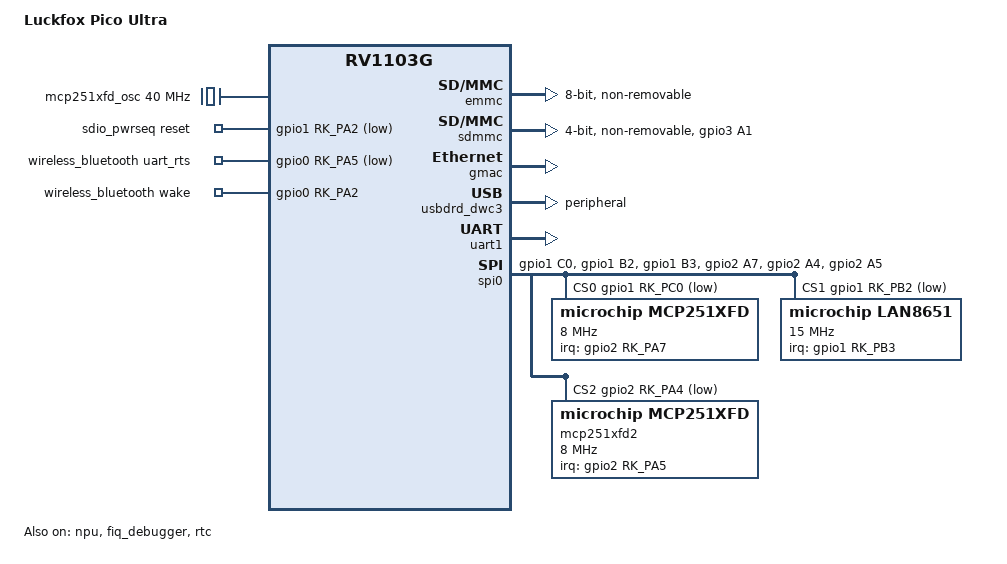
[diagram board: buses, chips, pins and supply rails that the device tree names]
// SPDX-License-Identifier: (GPL-2.0+ OR MIT)
/*
 * Copyright (c) 2022 Rockchip Electronics Co., Ltd.
 */

/dts-v1/;
#include "rv1106.dtsi"
#include "rv1106-luckfox-pico-ultra-ipc.dtsi"
#include <dt-bindings/input/input.h>
#include <dt-bindings/display/media-bus-format.h>

/ {
	model = "Luckfox Pico Ultra";
	compatible = "rockchip,rv1103g-38x38-ipc-v10", "rockchip,rv1106g3";

	/*
	 * Shared oscillator for both MCP251863 modules (can@0 and can@2).
	 * Must match the actual X1 crystal on the modules: the driver takes
	 * this as SYSCLK directly (it never enables the MCP's PLL), so a
	 * mismatch silently scales every bit rate - the link reports the
	 * requested bitrate while the wire runs at another.
	 *
	 * 40 MHz is bench-verified, NOT a guess: at 20 MHz the driver computed
	 * tq 50ns and both channels went silent (cansend produced nothing on
	 * the USB CAN FD analyser); at 40 MHz it computes tq 25ns / brp 1,
	 * which divides to exactly 500 kbit/s and passes traffic both ways.
	 * Schematic 89-S&C-R0 shows a 20 MHz X1 - that symbol does not match
	 * the modules actually fitted. Do not "correct" this to 20 MHz.
	 */
	mcp251xfd_osc: mcp251xfd-osc {
		compatible = "fixed-clock";
		#clock-cells = <0>;
		clock-frequency = <40000000>;
	};

	restart-poweroff {
		compatible = "restart-poweroff";
	};

	sdio_pwrseq: sdio-pwrseq {
		compatible = "mmc-pwrseq-simple";
		pinctrl-names = "default";
		reset-gpios = <&gpio1 RK_PA2 GPIO_ACTIVE_LOW>;
	};

	wireless_bluetooth: wireless-bluetooth {
		compatible = "bluetooth-platdata";
		uart_rts_gpios = <&gpio0 RK_PA5 GPIO_ACTIVE_LOW>;
		pinctrl-names = "default", "rts_gpio";
		pinctrl-0 = <&uart1m0_rtsn>;
		pinctrl-1 = <&uart1_gpios>;
		BT,wake_gpio     = <&gpio0 RK_PA2 GPIO_ACTIVE_HIGH>;
		status = "okay";
	};
};

&pinctrl {
	lan8651 {
		lan8651_cs_pin: lan8651-cs-pin {
			rockchip,pins = <1 RK_PB2 RK_FUNC_GPIO &pcfg_pull_none>;
		};

		lan8651_int_pin: lan8651-int-pin {
			rockchip,pins = <1 RK_PB3 RK_FUNC_GPIO &pcfg_pull_up>;
		};
	};

	mcp251xfd {
		/*
		 * SPI0 CS0 pin (GPIO1_C0) driven as a plain GPIO chip-select.
		 * The Rockchip SPI controller (SPI_MASTER_GPIO_SS) also asserts
		 * native SER[0] on every GPIO-CS transfer, so the MCP must NOT
		 * sit on native CS0 while the LAN8651 uses a GPIO CS - otherwise
		 * LAN8651 traffic re-selects the CAN controller and corrupts it.
		 * Making both devices GPIO-CS keeps them isolated.
		 */
		mcp251xfd_cs_pin: mcp251xfd-cs-pin {
			rockchip,pins = <1 RK_PC0 RK_FUNC_GPIO &pcfg_pull_up>;
		};

		mcp251xfd_int_pin: mcp251xfd-int-pin {
			rockchip,pins = <2 RK_PA7 RK_FUNC_GPIO &pcfg_pull_up>;
		};
	};

	mcp251xfd2 {
		/*
		 * Second MCP251863 on the same SPI0 bus, GPIO chip-select for the
		 * same reason as CS0/CS1 above. GPIO2_A4/A5 are otherwise idle on
		 * this board: their alternate mux is UART1_M1, and the Ultra's
		 * Bluetooth uses uart1m0 (GPIO1_A3/A4), not uart1m1.
		 * NOTE: the pad default bias for this pair is pull-down (cf.
		 * sdmmc1m0_idle_pins), so CS needs an external 10k pull-up to keep
		 * it deasserted in the window before pinctrl runs at boot.
		 */
		mcp251xfd2_cs_pin: mcp251xfd2-cs-pin {
			rockchip,pins = <2 RK_PA4 RK_FUNC_GPIO &pcfg_pull_up>;
		};

		mcp251xfd2_int_pin: mcp251xfd2-int-pin {
			rockchip,pins = <2 RK_PA5 RK_FUNC_GPIO &pcfg_pull_up>;
		};
	};
};

/**********CRU**********/
//&cru {
//	assigned-clocks =
//		<&cru PLL_GPLL>, <&cru PLL_CPLL>,
//		<&cru ARMCLK>,
//		<&cru ACLK_PERI_ROOT>, <&cru HCLK_PERI_ROOT>,
//		<&cru PCLK_PERI_ROOT>, <&cru ACLK_BUS_ROOT>,
//		<&cru PCLK_TOP_ROOT>, <&cru PCLK_PMU_ROOT>,
//		<&cru HCLK_PMU_ROOT>, <&cru CLK_500M_SRC>;
//	assigned-clock-rates =
//		<1188000000>, <700000000>,
//		<1104000000>,
//		<400000000>, <200000000>,
//		<100000000>, <300000000>,
//		<100000000>, <100000000>,
//		<200000000>, <700000000>;
//};

/**********NPU**********/
/*
 * Enabled 2026-08-21 (CRA compliance plan item 14).
 *
 * rv1106.dtsi ships this node "disabled", so rknpu never probed and /dev/rknpu
 * has never existed on any unit — while the SATISense daemon links librknnmrt
 * and core/ai/aiworker.c calls rknn_init() on the MVAD autoencoder's INT8
 * sibling whenever a .rknn model is present. The accelerated path could not
 * have worked on a shipped image; it failed at the device open and fell back.
 *
 * The module itself is loaded by the overlay's S52npu, from the rootfs rather
 * than from /oem (see luckfox-joral-oem-pre.sh).
 *
 * TAKES EFFECT ON A REFLASH ONLY: the dtb travels in the FIT in the `boot`
 * partition, which is single-copy and is not part of the .swu payload, so an
 * A/B update carries the loader and not this. Same class of caveat as the
 * pre-2026-08-15 /oem ownership.
 *
 * Clock rate is left at the dtsi default (ACLK_RKNN 420 MHz). The commented
 * 700 MHz override below is the BSP's, kept as it was found.
 */
&npu {
	//assigned-clock-rates = <700000000>;
	status = "okay";
};

/**********EMMC**********/
&emmc {
	bus-width = <8>;
	cap-mmc-highspeed;
	non-removable;
	// mmc-hs200-1_8v;
	rockchip,default-sample-phase = <90>;
	no-sdio;
	no-sd;
	memory-region-ecsd = <&mmc_ecsd>;
	post-power-on-delay-ms = <0>;
	status = "okay";
};

&fiq_debugger {
	rockchip,irq-mode-enable = <1>;
	status = "okay";
};

/**********SDIO-WIFI**********/
&sdmmc {
	max-frequency = <50000000>;
	bus-width = <4>;
	cap-sd-highspeed;
	cap-sdio-irq;
	keep-power-in-suspend;
	non-removable;
	rockchip,default-sample-phase = <90>;
	// no-sd;
	// no-mmc;
	supports-sdio;
	mmc-pwrseq = <&sdio_pwrseq>;
	pinctrl-names = "default";
	pinctrl-0 = <&sdmmc0_clk &sdmmc0_cmd &sdmmc0_bus4 &sdmmc0_det>;
	status = "okay";
};

&pinctrl{
	sdmmc0{
		sdmmc0_det: sdmmc0-det {
			rockchip,pins =
				/* sdmmc0_det */
				<3 RK_PA1 1 &pcfg_pull_down>;
		};
	};
};


/**********ETH**********/
&gmac {
	status = "okay";
};

/**********USB**********/
&usbdrd_dwc3 {
	status = "okay";
	dr_mode = "peripheral";
	//dr_mode = "host";
};

/**********RTC**********/
&rtc {
	status = "okay";
};

/**********RGB**********/
&backlight {
	status = "disabled";
};

&panel {
	status = "disabled";
};

&rgb {
	status = "disabled";
};

&rgb_in_vop {
	status = "disabled";
};

/**********BT**********/
&uart1 {
	status = "okay";
	pinctrl-names = "default";
	pinctrl-0 = <&uart1m0_xfer &uart1m0_ctsn>;
};

&pinctrl {
	wireless-bluetooth {
		uart1_gpios: uart1-gpios {
			rockchip,pins = <0 RK_PA5 RK_FUNC_GPIO &pcfg_pull_none>;
		};
	};
};

/**********SPI**********/
&spi0 {
	status = "okay";
	num-cs = <3>;
	/*
	 * CS0 = MCP251xFD #1 (GPIO1_C0), CS1 = LAN8651 (GPIO1_B2),
	 * CS2 = MCP251xFD #2 (GPIO2_A4); all GPIO, no native CS.
	 */
	cs-gpios = <&gpio1 RK_PC0 GPIO_ACTIVE_LOW>,
		   <&gpio1 RK_PB2 GPIO_ACTIVE_LOW>,
		   <&gpio2 RK_PA4 GPIO_ACTIVE_LOW>;
	pinctrl-names = "default";
	pinctrl-0 = <&spi0m0_clk &spi0m0_miso &spi0m0_mosi &mcp251xfd_cs_pin
				     &lan8651_cs_pin &lan8651_int_pin &mcp251xfd_int_pin
				     &mcp251xfd2_cs_pin &mcp251xfd2_int_pin>;
	/delete-node/ spidev@0;

	mcp251xfd: can@0 {
		compatible = "microchip,mcp251xfd";
		reg = <0>;
		/* 8 MHz: derated from 10 MHz (ADR-013; chip max is 17 MHz = 85% of
		 * SYSCLK/2 at 40 MHz) after CRC read errors on the shared SPI0 bus.
		 * Keeps ~1.6x headroom over worst-case CAN FD 500k/2M SPI traffic;
		 * do not lower further - transfers would occupy the shared bus even
		 * longer, delaying LAN8651 OA-TC6 data-path servicing. */
		spi-max-frequency = <8000000>;
		clocks = <&mcp251xfd_osc>;
		interrupt-parent = <&gpio2>;
		interrupts = <RK_PA7 IRQ_TYPE_LEVEL_LOW>;
		status = "okay";
	};

	lan8651: ethernet@1 {
		compatible = "microchip,lan8651";
		reg = <1>;
		/* 15 MHz: 25 MHz caused OA-TC6 'ctrl write echo mismatch' on the
		 * shared SPI0 bus (cf. MCP251863 at 10 MHz, ADR-013). Lowering to
		 * 10 MHz did NOT cure the runtime 'Config unsync error' wedge (it
		 * hit within a minute of boot vs ~23 h at 15 MHz), so the wedge is
		 * not clock-rate-bound; 15 MHz keeps SPI headroom above the 10 Mbps
		 * T1S line rate (~6% OA-TC6 chunk overhead) while the root cause
		 * (bus contention vs signal integrity) is isolated. */
		spi-max-frequency = <15000000>;
		interrupt-parent = <&gpio1>;
		interrupts = <RK_PB3 IRQ_TYPE_EDGE_FALLING>;
		microchip,plca-enable;
		microchip,plca-node-id = <0>;	/* 0 = PLCA coordinator (generates the BEACON) */
		microchip,plca-node-count = <8>;
		status = "okay";
	};

	mcp251xfd2: can@2 {
		compatible = "microchip,mcp251xfd";
		reg = <2>;
		/* Same derate as can@0 - see the comment there. */
		spi-max-frequency = <8000000>;
		clocks = <&mcp251xfd_osc>;
		interrupt-parent = <&gpio2>;
		interrupts = <RK_PA5 IRQ_TYPE_LEVEL_LOW>;
		status = "okay";
	};
};
